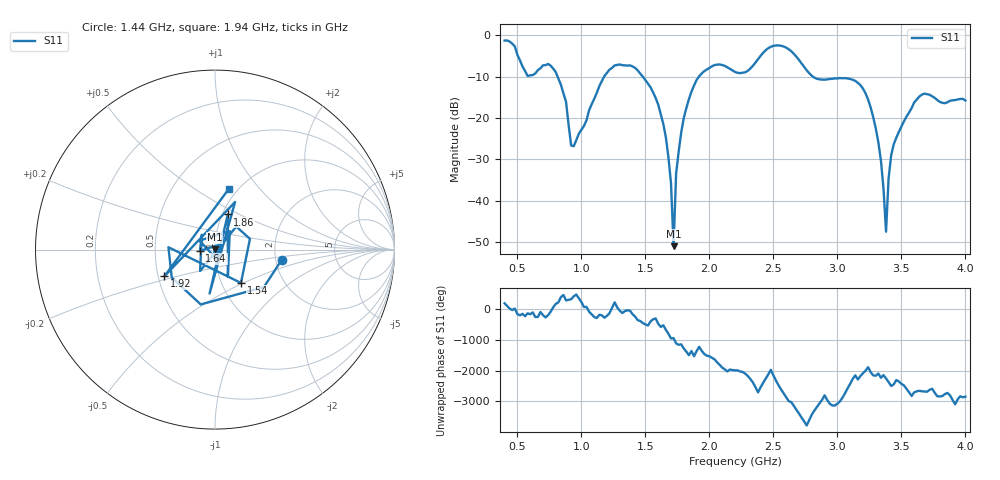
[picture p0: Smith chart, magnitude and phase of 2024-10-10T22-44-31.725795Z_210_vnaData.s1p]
! Created with skrf (http://scikit-rf.org).
# Hz S RI R 50.0
!freq ReS11 ImS11
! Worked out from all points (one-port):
!   181 points, 400 MHz to 4 GHz, reference 50 ohm
!   lowest |S11| = -51.0 dB at 1.72 GHz (marker M1), VSWR 1.01, Z = 49.8 + j0.221 ohm
!   |S11| at or under -10 dB: 813.8 MHz to 1.177 GHz (363.6 MHz wide, 36.5 % of centre); 1.48 GHz to 1.918 GHz (438.7 MHz wide, 25.8 % of centre); 2.809 GHz to end of sweep
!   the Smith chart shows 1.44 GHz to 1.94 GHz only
!   S11 on the Smith chart (normalised r, x): 1.44 GHz: 2.16, -0.29; 1.54 GHz: 1.23, -0.49; 1.64 GHz: 0.84, -0.01; 1.86 GHz: 1.06, +0.43; 1.92 GHz: 0.54, -0.18; 1.94 GHz: 0.91, +0.70
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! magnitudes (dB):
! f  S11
! 400 MHz  -1.3
! 580 MHz  -9.9
! 760 MHz  -7.4
! 860 MHz  -14.1
! 940 MHz  -26.8
! 1.18 GHz  -9.8
! 1.3 GHz  -7.1
! 1.44 GHz  -8.5
! 1.54 GHz  -12.6
! 1.64 GHz  -21.5
! 1.7 GHz  -35.8
! 1.72 GHz  -51.0
! 1.74 GHz  -33.4
! 1.76 GHz  -28.1
! 1.86 GHz  -13.6
! 1.92 GHz  -9.9
! 1.94 GHz  -9.2
! 2.2 GHz  -8.9
! 2.66 GHz  -4.5
! 3.1 GHz  -10.6
! 3.28 GHz  -19.8
! 3.34 GHz  -30.3
! 3.38 GHz  -47.5
! 3.4 GHz  -34.6
! 3.42 GHz  -29.1
! 3.56 GHz  -18.7
! 3.68 GHz  -14.1
! 4 GHz  -15.8
